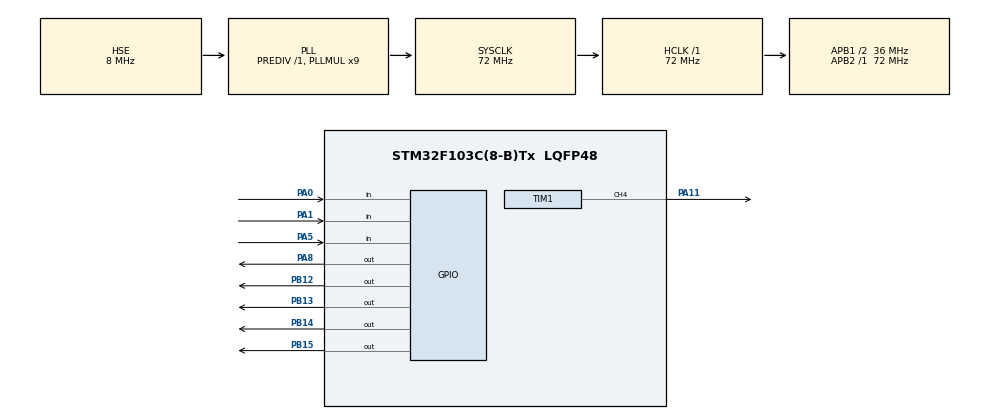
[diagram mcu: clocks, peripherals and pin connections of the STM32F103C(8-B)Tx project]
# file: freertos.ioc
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FREERTOS.Tasks01=defaultTask,24,128,StartDefaultTask,Default,NULL,Dynamic,NULL,NULL
Mcu.Family=STM32F1
Mcu.Name=STM32F103C(8-B)Tx
Mcu.Package=LQFP48
NVIC.PriorityGroup=NVIC_PRIORITYGROUP_4
NVIC.TIM4_IRQn=true\:15\:0\:false\:false\:true\:false\:false\:true\:true
NVIC.TimeBase=TIM4_IRQn
NVIC.TimeBaseIP=TIM4
PA0-WKUP.GPIO_PuPd=GPIO_PULLUP
PA0-WKUP.Signal=GPIO_Input
PA1.GPIO_PuPd=GPIO_PULLUP
PA1.Signal=GPIO_Input
PA11.Signal=S_TIM1_CH4
PA13.Mode=Serial_Wire
PA13.Signal=SYS_JTMS-SWDIO
PA14.Mode=Serial_Wire
PA14.Signal=SYS_JTCK-SWCLK
PA5.Signal=GPIO_Input
PA8.GPIO_ModeDefaultOutputPP=GPIO_MODE_OUTPUT_PP
PA8.PinState=GPIO_PIN_SET
PA8.Signal=GPIO_Output
PB12.Signal=GPIO_Output
PB13.PinState=GPIO_PIN_SET
PB13.Signal=GPIO_Output
PB14.PinState=GPIO_PIN_SET
PB14.Signal=GPIO_Output
PB15.PinState=GPIO_PIN_SET
PB15.Signal=GPIO_Output
PD0-OSC_IN.Mode=HSE-External-Oscillator
PD0-OSC_IN.Signal=RCC_OSC_IN
PD1-OSC_OUT.Mode=HSE-External-Oscillator
PD1-OSC_OUT.Signal=RCC_OSC_OUT
ProjectManager.HeapSize=0x200
ProjectManager.StackSize=0x400
ProjectManager.TargetToolchain=MDK-ARM V5.32
RCC.AHBFreq_Value=72000000
RCC.APB1CLKDivider=RCC_HCLK_DIV2
RCC.APB1Freq_Value=36000000
RCC.APB1TimFreq_Value=72000000
RCC.APB2Freq_Value=72000000
RCC.APB2TimFreq_Value=72000000
RCC.HCLKFreq_Value=72000000
RCC.PLLMUL=RCC_PLL_MUL9
RCC.PLLSourceVirtual=RCC_PLLSOURCE_HSE
RCC.SYSCLKFreq_VALUE=72000000
RCC.SYSCLKSource=RCC_SYSCLKSOURCE_PLLCLK
RCC.USBFreq_Value=72000000
SH.S_TIM1_CH4.0=TIM1_CH4,PWM Generation4 CH4
TIM1.Channel-PWM\ Generation4\ CH4=TIM_CHANNEL_4
TIM1.ClockDivision=TIM_CLOCKDIVISION_DIV1
TIM1.Period=1000
TIM1.Prescaler=72
TIM1.RepetitionCounter=0
VP_FREERTOS_VS_CMSIS_V2.Mode=CMSIS_V2
VP_SYS_VS_tim4.Mode=TIM4
VP_TIM1_VS_ClockSourceINT.Mode=Internal
board=custom

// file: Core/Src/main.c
/* USER CODE BEGIN Header */
/**
  ******************************************************************************
  * @file           : main.c
  * @brief          : Main program body
  ******************************************************************************
  * @attention
  *
  * Copyright (c) 2026 STMicroelectronics.
  * All rights reserved.
  *
  * This software is licensed under terms that can be found in the LICENSE file
  * in the root directory of this software component.
  * If no LICENSE file comes with this software, it is provided AS-IS.
  *
  ******************************************************************************
  */
/* USER CODE END Header */
#include "main.h"
#include "cmsis_os.h"
#include "tim.h"
#include "gpio.h"

/* USER CODE BEGIN Includes */
#include "init.h"
/* USER CODE END Includes */

void SystemClock_Config(void);
void MX_FREERTOS_Init(void);

int main(void)
{

  /* MCU Configuration--------------------------------------------------------*/

  /* Reset of all peripherals, Initializes the Flash interface and the Systick. */
  HAL_Init();

  /* Configure the system clock */
  SystemClock_Config();

  /* Initialize all configured peripherals */
  MX_GPIO_Init();
  MX_TIM1_Init();
  /* USER CODE BEGIN 2 */
  OLED_Init();
  light_init();
  /* USER CODE END 2 */

  /* Init scheduler */
  osKernelInitialize();  /* Call init function for freertos objects (in cmsis_os2.c) */
  MX_FREERTOS_Init();

  /* Start scheduler */
  osKernelStart();

  /* We should never get here as control is now taken by the scheduler */

  /* Infinite loop */
  /* USER CODE BEGIN WHILE */
  while (1)
  {
    HAL_Delay(1000);
    /* USER CODE END WHILE */

  }
}

void SystemClock_Config(void)
{
  RCC_OscInitTypeDef RCC_OscInitStruct = {0};
  RCC_ClkInitTypeDef RCC_ClkInitStruct = {0};

  /** Initializes the RCC Oscillators according to the specified parameters
  * in the RCC_OscInitTypeDef structure.
  */
  RCC_OscInitStruct.OscillatorType = RCC_OSCILLATORTYPE_HSE;
  RCC_OscInitStruct.HSEState = RCC_HSE_ON;
  RCC_OscInitStruct.HSEPredivValue = RCC_HSE_PREDIV_DIV1;
  RCC_OscInitStruct.HSIState = RCC_HSI_ON;
  RCC_OscInitStruct.PLL.PLLState = RCC_PLL_ON;
  RCC_OscInitStruct.PLL.PLLSource = RCC_PLLSOURCE_HSE;
  RCC_OscInitStruct.PLL.PLLMUL = RCC_PLL_MUL9;
  if (HAL_RCC_OscConfig(&RCC_OscInitStruct) != HAL_OK)
  {
    Error_Handler();
  }

  /** Initializes the CPU, AHB and APB buses clocks
  */
  RCC_ClkInitStruct.ClockType = RCC_CLOCKTYPE_HCLK|RCC_CLOCKTYPE_SYSCLK
                              |RCC_CLOCKTYPE_PCLK1|RCC_CLOCKTYPE_PCLK2;
  RCC_ClkInitStruct.SYSCLKSource = RCC_SYSCLKSOURCE_PLLCLK;
  RCC_ClkInitStruct.AHBCLKDivider = RCC_SYSCLK_DIV1;
  RCC_ClkInitStruct.APB1CLKDivider = RCC_HCLK_DIV2;
  RCC_ClkInitStruct.APB2CLKDivider = RCC_HCLK_DIV1;

  if (HAL_RCC_ClockConfig(&RCC_ClkInitStruct, FLASH_LATENCY_2) != HAL_OK)
  {
    Error_Handler();
  }
}

void HAL_TIM_PeriodElapsedCallback(TIM_HandleTypeDef *htim)
{
  if (htim->Instance == TIM4)
  {
    HAL_IncTick();
  }
}

void Error_Handler(void)
{
  __disable_irq();
  while (1)
  {
  }
}

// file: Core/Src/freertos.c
/* USER CODE BEGIN Header */
/**
  ******************************************************************************
  * File Name          : freertos.c
  * Description        : Code for freertos applications
  ******************************************************************************
  * @attention
  *
  * Copyright (c) 2026 STMicroelectronics.
  * All rights reserved.
  *
  * This software is licensed under terms that can be found in the LICENSE file
  * in the root directory of this software component.
  * If no LICENSE file comes with this software, it is provided AS-IS.
  *
  ******************************************************************************
  */
/* USER CODE END Header */

#include "FreeRTOS.h"
#include "task.h"
#include "main.h"
#include "cmsis_os.h"

/* USER CODE BEGIN Includes */
#include "queue.h"
#include "node.h"
#include "slide.h"
#include "slide_render.h"
#include "oled.h"
#define tiaoshi 0

/* USER CODE END Includes */

/* USER CODE BEGIN Variables */
QueueHandle_t key_event_queue;
QueueHandle_t display_queue;
TimerHandle_t refresh_timer;
/* USER CODE END Variables */
/* Definitions for defaultTask */
osThreadId_t defaultTaskHandle;
const osThreadAttr_t defaultTask_attributes = {
  .name = "defaultTask",
  .stack_size = 128 * 4,
  .priority = (osPriority_t) osPriorityNormal,
};

/* USER CODE BEGIN FunctionPrototypes */

static void refresh(void) {
    DisplayMsg_t msg = DISPLAY_MSG_REDRAW;
    xQueueOverwrite(display_queue, &msg);
}
void refresh_timer_callback(TimerHandle_t xTimer) {
    (void)xTimer;
    /* 仅在根节点且无滑动动画时自动刷新（用于main界面动画） */
    if(current_node == head_node && !slide_is_active())
    {
        refresh();
    }
}

void KeyScan_Task(void *arg)
{
  KeyEvent_t k[2];
  while (1)
  {
    key_scan(k);
    for(int i = 0;i<2;i++)
    {
        if(k[i].event != KEY_EVENT_NONE)
        {
            xQueueSend(key_event_queue,&k[i],0);
        }
    }
    vTaskDelay(6);
  }
}

void Display_Task(void *arg)
{
  DisplayMsg_t  refresh_flag = DISPLAY_NONE;
  while (1)
  {
    if(xQueueReceive(display_queue, &refresh_flag, portMAX_DELAY) == pdTRUE)
    {
      if(refresh_flag == DISPLAY_MSG_REDRAW)
      {
        refresh_flag = DISPLAY_NONE;
        if(current_node == head_node) {
          /* 根节点：独立显示（保持原有动画效果） */
          if(current_node != NULL && current_node->display != NULL)
          {
            current_node->display();
          }
          else{
            OLED_Clear();
            OLED_ShowString(0,0,"ERROR",OLED_8X16);
          }
          OLED_Update();
        } else {
          /* 非根节点：使用统一渲染器 */
          if(current_node != NULL && current_node->name != NULL)
          {
            slide_draw_page(current_node);
          }
          else if(current_node != NULL && current_node->display != NULL)
          {
            current_node->display();
          }
          OLED_Update();
        }
      }
      else if(refresh_flag == DISPLAY_MSG_SLIDE_LEFT || refresh_flag == DISPLAY_MSG_SLIDE_RIGHT)
      {
        /* 滑动动画 */
        uint8_t dir = (refresh_flag == DISPLAY_MSG_SLIDE_RIGHT) ? SLIDE_DIR_RIGHT : SLIDE_DIR_LEFT;
        refresh_flag = DISPLAY_NONE;
        slide_start(current_node, dir);
        /* 执行动画帧 */
        while(!slide_step())
        {
          OLED_Update();
          vTaskDelay(pdMS_TO_TICKS(SLIDE_FRAME_MS));
        }
        /* 最后一帧 */
        OLED_Update();
        slide_input_locked = 0;
      }
    }
  }
}

void Menu_Task(void *arg)
{
  while(1)
  {
      KeyEvent_t k;
        if(xQueueReceive(key_event_queue, &k, portMAX_DELAY) == pdTRUE)
        {
            /* 滑动动画期间忽略按键 */
            if(slide_input_locked) continue;

            switch(k.event)
            {
                case KEY_EVENT_SHORT_PRESS:
                if(k.key == 0)
                {
                    /* Key0短按：前进 */
                    if(current_node == head_node) {
                        /* 根节点：进入子节点（即时切换） */
                        if(current_node->child != NULL)
                        {
                            current_node = current_node->child;
                            refresh();
                        }
                    } else if(current_node->next != NULL) {
                        /* 有下一兄弟：向左滑动切换 */
                        current_node = current_node->next;
                        DisplayMsg_t msg = DISPLAY_MSG_SLIDE_LEFT;
                        xQueueOverwrite(display_queue, &msg);
                    }
                }
                else if(k.key == 1)
                {
                    /* Key1短按：执行当前节点的功能 */
                    if(current_node->action != NULL)
                    {
                        current_node->action();
                        refresh();
                    }
                }
                break;
                case KEY_EVENT_LONG_PRESS:
                  if(k.key == 0)
                  {
                    /* Key0长按：返回 */
                    if(current_node == head_node) {
                        /* 根节点：忽略 */
                    } else if(current_node->prev != NULL) {
                        /* 有上一兄弟：向右滑动切换 */
                        current_node = current_node->prev;
                        DisplayMsg_t msg = DISPLAY_MSG_SLIDE_RIGHT;
                        xQueueOverwrite(display_queue, &msg);
                    }else if(current_node->father != NULL) {
                        /* 没有上一兄弟：返回父节点（即时切换） */
                        current_node = current_node->father;
                        refresh();
                    }
                  }
                break;
            }
        }
  }
}

/* USER CODE END FunctionPrototypes */

void StartDefaultTask(void *argument);

void MX_FREERTOS_Init(void); /* (MISRA C 2004 rule 8.1) */

void MX_FREERTOS_Init(void) {
  /* USER CODE BEGIN Init */

  key_event_queue = xQueueCreate(10,sizeof(KeyEvent_t));
  display_queue = xQueueCreate(1, sizeof(DisplayMsg_t));
  TaskHandle_t KeyTask_attributes;
  xTaskCreate(KeyScan_Task,"KEY_SCAN_TASK",64,NULL,27,&KeyTask_attributes);

  TaskHandle_t DisplayTask_attributes;
  xTaskCreate(Display_Task,"DISPLAY_TASK",128,NULL,25,&DisplayTask_attributes);

  TaskHandle_t MenuTask_attributes;
  xTaskCreate(Menu_Task,"MENU_TASK",256,NULL,26,&MenuTask_attributes);

  refresh_timer = xTimerCreate("refresh_timer",pdMS_TO_TICKS(20),pdTRUE,NULL,refresh_timer_callback);
  /* USER CODE END Init */

  /* Create the thread(s) */
  /* creation of defaultTask */
  defaultTaskHandle = osThreadNew(StartDefaultTask, NULL, &defaultTask_attributes);

}

void StartDefaultTask(void *argument)
{
  /* USER CODE BEGIN StartDefaultTask */
	creat_menu();
  xTimerStart(refresh_timer, 0);
	vTaskDelete(NULL);
  /* USER CODE END StartDefaultTask */
}
